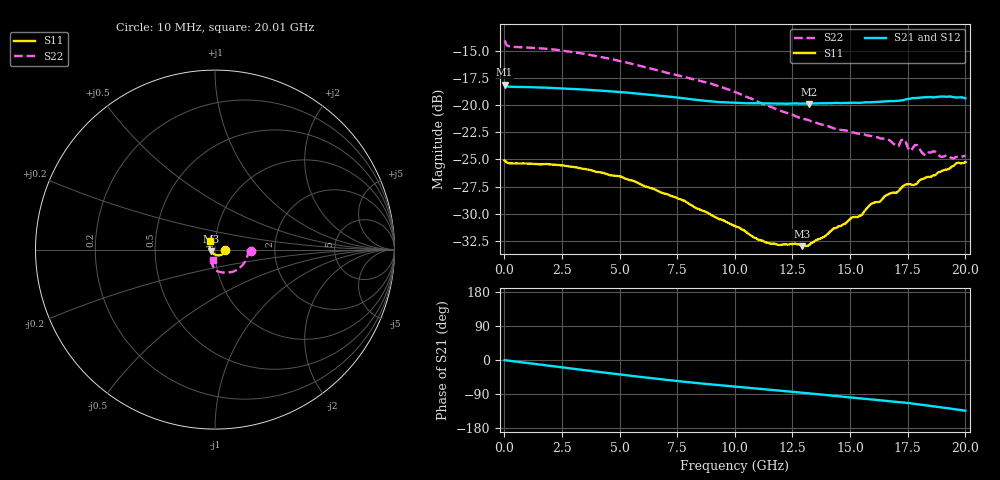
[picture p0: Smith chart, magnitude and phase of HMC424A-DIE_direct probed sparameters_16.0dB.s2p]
!s2p File: Measurements: S11, S21, S12, S22
# GHz S dB R 50.0
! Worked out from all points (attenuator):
!   201 points, 10 MHz to 20.01 GHz, reference 50 ohm
!   highest |S21| = -18.13 dB at 10 MHz (marker M1); lowest = -19.9 dB at 13.21 GHz (marker M2)
!   lowest |S11| = -33.0 dB at 12.91 GHz (marker M3), VSWR 1.05, Z = 48 - j0.934 ohm
!   |S11| at or under -10 dB: start of sweep to end of sweep
!   |S22| runs from -24.9 to -14.1 dB; largest |S21 - S12| = 0.0012
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0.01  -25.08 -0.3  -18.13 -0.4  -18.15 -0.4  -14.06 -1.5
0.21  -25.35 -1.9  -18.31 -2.0  -18.30 -2.0  -14.60 -3.2
3.41  -25.86 -24.4  -18.57 -26.4  -18.56 -26.4  -15.27 -34.8
5.01  -26.54 -37.7  -18.80 -38.2  -18.80 -38.1  -15.95 -49.6
6.71  -27.94 -52.5  -19.13 -50.2  -19.12 -50.2  -16.83 -63.5
10.01  -31.12 -93.1  -19.80 -69.9  -19.80 -69.8  -18.79 -87.3
11.41  -32.66 -120.8  -19.85 -77.7  -19.84 -77.7  -20.02 -94.6
12.91  -32.97 -154.4  -19.86 -86.3  -19.85 -86.3  -21.24 -99.2
13.21  -32.91 -160.6  -19.89 -88.1  -19.88 -88.0  -21.38 -100.0
13.41  -32.60 -165.7  -19.85 -89.1  -19.86 -89.2  -21.56 -100.4
15.11  -30.31 163.7  -19.78 -99.3  -19.79 -99.3  -22.51 -103.4
15.51  -30.11 157.3  -19.78 -101.6  -19.76 -101.5  -22.65 -103.6
15.91  -29.09 151.5  -19.74 -104.0  -19.74 -104.0  -22.84 -104.8
16.71  -28.14 141.5  -19.64 -108.7  -19.62 -108.8  -23.22 -107.3
17.11  -27.89 139.5  -19.61 -111.1  -19.54 -111.2  -23.78 -104.2
17.31  -27.44 137.8  -19.55 -112.2  -19.54 -112.6  -23.12 -106.3
17.61  -27.27 133.3  -19.40 -114.0  -19.45 -114.5  -24.22 -107.4
17.91  -27.22 131.8  -19.34 -116.7  -19.39 -116.7  -23.67 -107.7
18.31  -26.63 127.3  -19.27 -119.8  -19.30 -119.8  -24.61 -105.2
18.61  -26.47 126.3  -19.30 -122.2  -19.28 -122.0  -24.24 -105.1
19.01  -26.03 125.0  -19.21 -125.5  -19.24 -125.5  -24.76 -104.7
20.01  -25.25 123.8  -19.38 -133.7  -19.37 -133.7  -24.66 -100.5
